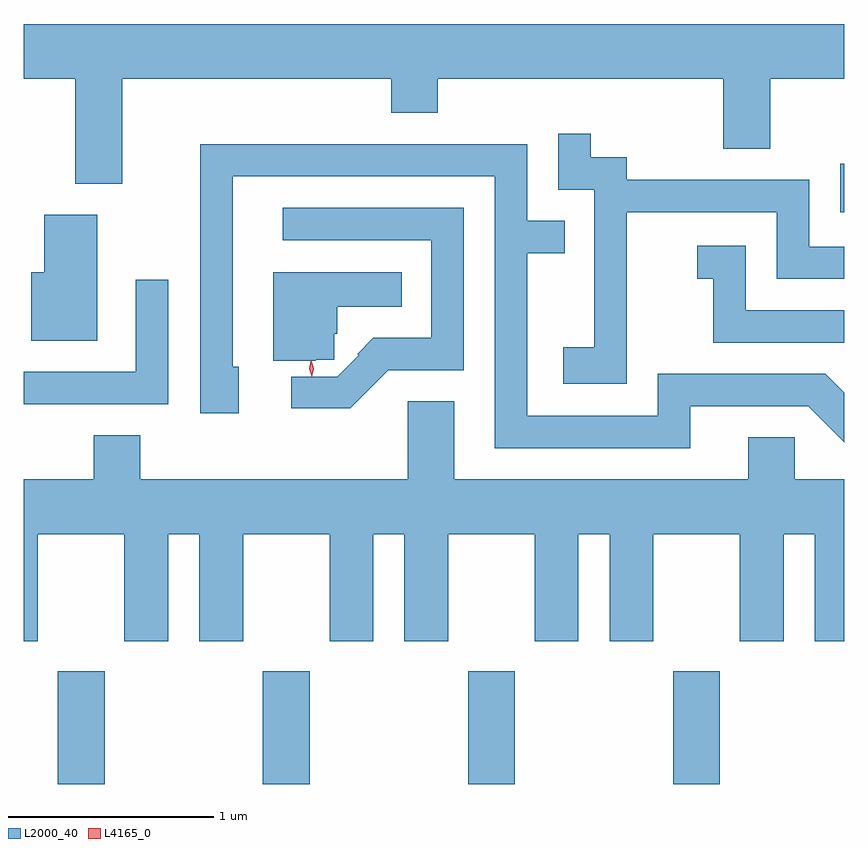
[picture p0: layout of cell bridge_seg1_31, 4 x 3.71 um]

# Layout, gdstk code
import gdstk
lib = gdstk.Library(unit=1e-6, precision=1e-09)
def R(c, l, rs):  # rectangles x0, y0, x1, y1
    for r in rs: c.add(gdstk.rectangle(r[:2], r[2:], *l))
def A(c, l, x, y, w, h, nx, ny, dx, dy):  # array of equal rectangles
    R(c, l, [(x+i*dx, y+j*dy, x+i*dx+w, y+j*dy+h) for i in range(nx) for j in range(ny)])
def P(c, l, *ps):  # polygons
    for p in ps: c.add(gdstk.Polygon(p, *l))
L2000_40 = (2000, 40)
L4165_0 = (4165, 0)

bridge_seg1_31 = lib.new_cell('bridge_seg1_31')
A(bridge_seg1_31, L2000_40, 1481.126, 862.839, 0.228, 0.55, 4, 1, 1, 0)
R(bridge_seg1_31, L2000_40, [(1484.941,865.626,1484.96,865.863)])
P(bridge_seg1_31, L2000_40, [(1480.96,866.276),(1481.211,866.276),(1481.211,865.766),(1481.439,865.766),(1481.439,866.276),(1482.751,866.276),(1482.751,866.111),(1482.979,866.111),(1482.979,866.276),(1484.371,866.276),(1484.371,865.936),(1484.599,865.936),(1484.599,866.276),(1484.96,866.276),(1484.96,866.544),(1480.96,866.544)],
  [(1483.899,865.626),(1484.631,865.626),(1484.631,865.301),(1484.96,865.301),(1484.96,865.459),(1484.789,865.459),(1484.789,865.784),(1483.899,865.784),(1483.899,865.894),(1483.724,865.894),(1483.724,866.008),(1483.566,866.008),(1483.566,865.736),(1483.741,865.736),(1483.741,864.969),(1483.591,864.969),(1483.591,864.791),(1483.899,864.791)],
  [(1484.209,864.681),(1484.784,864.681),(1484.96,864.505),(1484.96,864.746),(1484.867,864.839),(1484.051,864.839),(1484.051,864.634),(1483.414,864.634),(1483.414,865.426),(1483.598,865.426),(1483.598,865.584),(1483.414,865.584),(1483.414,865.959),(1481.821,865.959),(1481.821,864.646),(1482.009,864.646),(1482.009,864.874),(1481.979,864.874),(1481.979,865.801),(1483.256,865.801),(1483.256,864.476),(1484.209,864.476)],
  [(1482.737,864.856),(1483.104,864.856),(1483.104,865.649),(1482.223,865.649),(1482.223,865.491),(1482.946,865.491),(1482.946,865.014),(1482.665,865.014),(1482.586,864.935),(1482.592,864.929),(1482.488,864.824),(1482.263,864.824),(1482.263,864.671),(1482.552,864.671)],
  [(1481.319,865.614),(1481.061,865.614),(1481.061,865.334),(1480.996,865.334),(1480.996,865.001),(1481.319,865.001)],
  [(1484.96,865.149),(1484.479,865.149),(1484.479,865.464),(1484.243,865.464),(1484.243,865.301),(1484.321,865.301),(1484.321,864.991),(1484.96,864.991)],
  [(1482.384,864.908),(1482.474,864.908),(1482.474,865.033),(1482.488,865.033),(1482.488,865.166),(1482.803,865.166),(1482.803,865.334),(1482.176,865.334),(1482.176,864.903),(1482.384,864.903)],
  [(1481.664,865.298),(1481.506,865.298),(1481.506,864.849),(1480.96,864.849),(1480.96,864.691),(1481.664,864.691)],
  [(1481.029,864.056),(1481.451,864.056),(1481.451,863.536),(1481.664,863.536),(1481.664,864.056),(1481.816,864.056),(1481.816,863.536),(1482.029,863.536),(1482.029,864.056),(1482.451,864.056),(1482.451,863.536),(1482.664,863.536),(1482.664,864.056),(1482.816,864.056),(1482.816,863.536),(1483.029,863.536),(1483.029,864.056),(1483.451,864.056),(1483.451,863.536),(1483.664,863.536),(1483.664,864.056),(1483.816,864.056),(1483.816,863.536),(1484.029,863.536),(1484.029,864.056),(1484.451,864.056),(1484.451,863.536),(1484.664,863.536),(1484.664,864.056),(1484.816,864.056),(1484.816,863.536),(1484.96,863.536),(1484.96,864.324),(1484.719,864.324),(1484.719,864.529),(1484.491,864.529),(1484.491,864.324),(1483.059,864.324),(1483.059,864.704),(1482.831,864.704),(1482.831,864.324),(1481.529,864.324),(1481.529,864.539),(1481.301,864.539),(1481.301,864.324),(1480.96,864.324),(1480.96,863.536),(1481.029,863.536)])
P(bridge_seg1_31, L4165_0, [(1482.366,864.83),(1482.366,864.831),(1482.355,864.864),(1482.362,864.897),(1482.363,864.898),(1482.363,864.897),(1482.374,864.864),(1482.367,864.831)],
  [(1482.363,864.828),(1482.352,864.864),(1482.36,864.899),(1482.36,864.9),(1482.361,864.899),(1482.372,864.864),(1482.364,864.828),(1482.364,864.828)])

lib.write_gds('bridge_seg1_31.gds')
